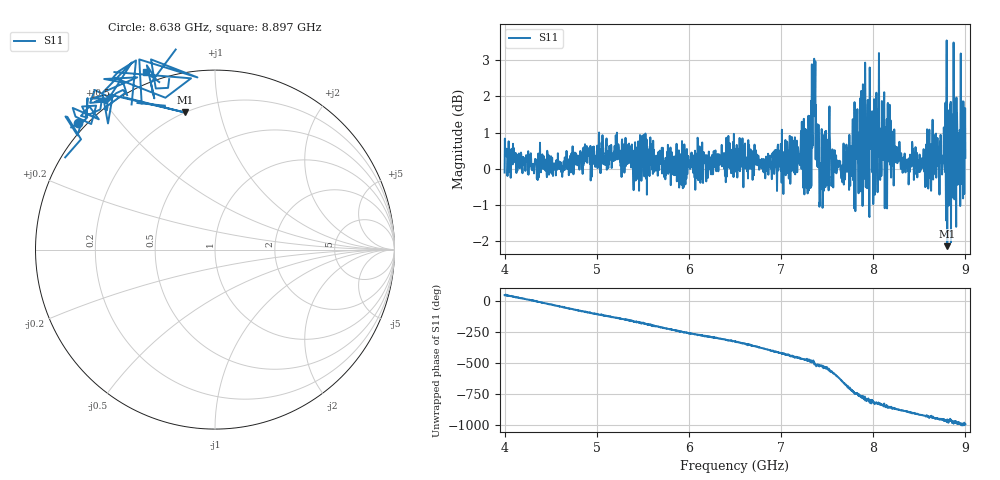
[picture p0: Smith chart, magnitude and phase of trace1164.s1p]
! Created with skrf 1.8.0 (http://scikit-rf.org).
# Hz S RI R 50.0
!freq ReS11 ImS11
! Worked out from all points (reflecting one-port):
!   1601 points, 4 GHz to 9 GHz, reference 50 ohm
!   lowest |S11| = -2.1 dB at 8.803 GHz (marker M1), VSWR 8.20, Z = 9.94 + j39.2 ohm
!   phase of S11 starts at 49 deg and turns -1042 deg over the sweep
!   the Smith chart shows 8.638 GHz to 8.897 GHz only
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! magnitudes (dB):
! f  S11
! 4 GHz  -0.1
! 4.625 GHz  -0.2
! 5.25 GHz  0.3
! 5.875 GHz  -0.1
! 6.5 GHz  0.3
! 7.125 GHz  0.0
! 7.297 GHz  1.5
! 7.356 GHz  2.2
! 7.372 GHz  3.0
! 7.406 GHz  1.2
! 7.441 GHz  1.1
! 7.509 GHz  0.1
! 7.65 GHz  -0.1
! 7.75 GHz  -0.5
! 7.819 GHz  0.3
! 7.928 GHz  1.1
! 7.981 GHz  0.7
! 7.988 GHz  1.6
! 8.022 GHz  0.7
! 8.047 GHz  -0.6
! 8.066 GHz  0.3
! 8.178 GHz  1.8
! 8.209 GHz  0.7
! 8.375 GHz  0.1
! 8.803 GHz  -2.1
! 8.919 GHz  0.2
! 8.972 GHz  0.5
! 9 GHz  0.3
